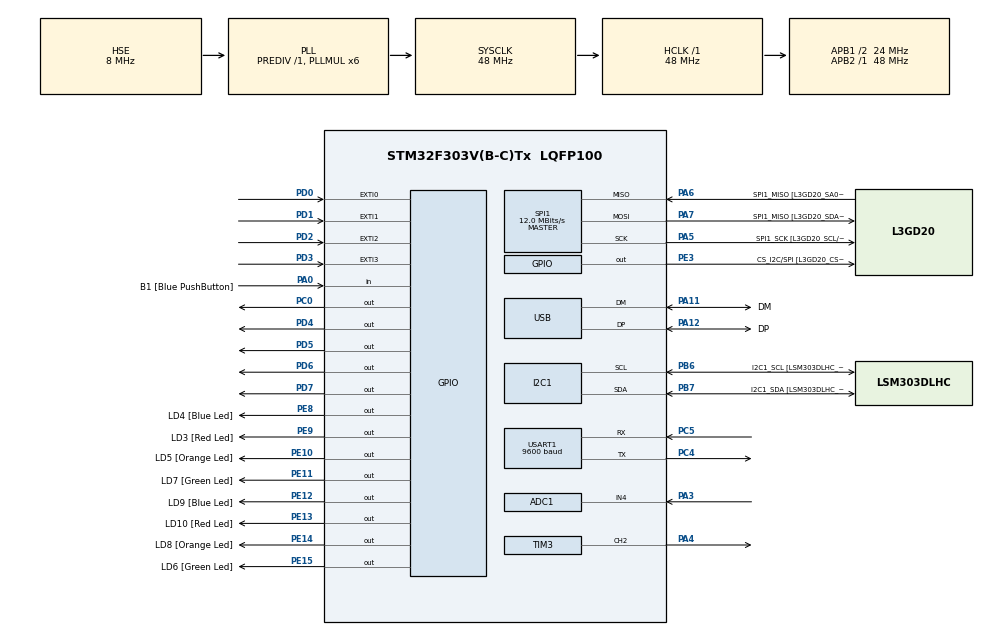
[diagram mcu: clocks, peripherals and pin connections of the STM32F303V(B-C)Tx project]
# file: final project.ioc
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ADC1.Channel-0\#ChannelRegularConversion=ADC_CHANNEL_4
ADC1.NbrOfConversionFlag=1
ADC1.Offset-0\#ChannelRegularConversion=0
ADC1.OffsetNumber-0\#ChannelRegularConversion=ADC_OFFSET_NONE
ADC1.Rank-0\#ChannelRegularConversion=1
ADC1.SamplingTime-0\#ChannelRegularConversion=ADC_SAMPLETIME_601CYCLES_5
ADC1.master=1
I2C1.Timing-I2C=0x2000090E
Mcu.Family=STM32F3
Mcu.Name=STM32F303V(B-C)Tx
Mcu.Package=LQFP100
NVIC.ADC1_2_IRQn=true\:3\:0\:true\:false\:true\:true\:true\:true
NVIC.EXTI0_IRQn=true\:0\:0\:false\:false\:true\:true\:true\:true
NVIC.EXTI1_IRQn=true\:0\:0\:false\:false\:true\:true\:true\:true
NVIC.EXTI2_TSC_IRQn=true\:0\:0\:false\:false\:true\:true\:true\:true
NVIC.EXTI3_IRQn=true\:0\:0\:false\:false\:true\:true\:true\:true
NVIC.PriorityGroup=NVIC_PRIORITYGROUP_2
NVIC.TIM2_IRQn=true\:2\:0\:true\:false\:true\:true\:true\:true
NVIC.USART1_IRQn=true\:3\:0\:true\:false\:true\:true\:true\:true
PA0.GPIO_Label=B1 [Blue PushButton]
PA0.GPIO_PuPd=GPIO_NOPULL
PA0.Signal=GPIO_Input
PA11.GPIO_Label=DM
PA11.Mode=Device
PA11.Signal=USB_DM
PA12.GPIO_Label=DP
PA12.Mode=Device
PA12.Signal=USB_DP
PA13.GPIO_Label=SWDIO
PA13.Mode=Serial_Wire
PA13.Signal=SYS_JTMS-SWDIO
PA14.GPIO_Label=SWCLK
PA14.Mode=Serial_Wire
PA14.Signal=SYS_JTCK-SWCLK
PA3.Mode=IN4-Single-Ended
PA3.Signal=ADC1_IN4
PA4.Signal=S_TIM3_CH2
PA5.GPIO_Label=SPI1_SCK [L3GD20_SCL/SPC]
PA5.Mode=Full_Duplex_Master
PA5.Signal=SPI1_SCK
PA6.GPIO_Label=SPI1_MISO [L3GD20_SA0/SDO]
PA6.Mode=Full_Duplex_Master
PA6.Signal=SPI1_MISO
PA7.GPIO_Label=SPI1_MISO [L3GD20_SDA/SDI/SDO]
PA7.Mode=Full_Duplex_Master
PA7.Signal=SPI1_MOSI
PB3.GPIO_Label=SWO
PB3.Signal=SYS_JTDO-TRACESWO
PB6.GPIO_Label=I2C1_SCL [LSM303DLHC_SCL]
PB6.GPIO_Pu=GPIO_PULLUP
PB6.Mode=I2C
PB6.Signal=I2C1_SCL
PB7.GPIO_Label=I2C1_SDA [LSM303DLHC_SDA]
PB7.GPIO_Pu=GPIO_PULLUP
PB7.Mode=I2C
PB7.Signal=I2C1_SDA
PC0.Signal=GPIO_Output
PC14-OSC32_IN.GPIO_Label=OSC32_IN
PC14-OSC32_IN.Signal=RCC_OSC32_IN
PC15-OSC32_OUT.GPIO_Label=OSC32_OUT
PC15-OSC32_OUT.Signal=RCC_OSC32_OUT
PC4.Mode=Asynchronous
PC4.Signal=USART1_TX
PC5.Mode=Asynchronous
PC5.Signal=USART1_RX
PD0.GPIO_ModeDefaultEXTI=GPIO_MODE_IT_RISING
PD0.GPIO_PuPd=GPIO_PULLDOWN
PD0.Signal=GPXTI0
PD1.GPIO_ModeDefaultEXTI=GPIO_MODE_IT_RISING
PD1.GPIO_PuPd=GPIO_PULLDOWN
PD1.Signal=GPXTI1
PD2.GPIO_ModeDefaultEXTI=GPIO_MODE_IT_RISING
PD2.GPIO_PuPd=GPIO_PULLDOWN
PD2.Signal=GPXTI2
PD3.GPIO_ModeDefaultEXTI=GPIO_MODE_IT_RISING
PD3.GPIO_PuPd=GPIO_PULLDOWN
PD3.Signal=GPXTI3
PD4.Signal=GPIO_Output
PD5.Signal=GPIO_Output
PD6.Signal=GPIO_Output
PD7.Signal=GPIO_Output
PE10.GPIO_Label=LD5 [Orange Led]
PE10.Signal=GPIO_Output
PE11.GPIO_Label=LD7 [Green Led]
PE11.Signal=GPIO_Output
PE12.GPIO_Label=LD9 [Blue Led]
PE12.Signal=GPIO_Output
PE13.GPIO_Label=LD10 [Red Led]
PE13.Signal=GPIO_Output
PE14.GPIO_Label=LD8 [Orange Led]
PE14.Signal=GPIO_Output
PE15.GPIO_Label=LD6 [Green Led]
PE15.Signal=GPIO_Output
PE3.GPIO_Label=CS_I2C/SPI [L3GD20_CS_I2C/SPI]
PE3.Signal=GPIO_Output
PE8.GPIO_Label=LD4 [Blue Led]
PE8.Signal=GPIO_Output
PE9.GPIO_Label=LD3 [Red Led]
PE9.Signal=GPIO_Output
PF0-OSC_IN.GPIO_Label=OSC_IN
PF0-OSC_IN.Mode=HSE-External-Clock-Source
PF0-OSC_IN.Signal=RCC_OSC_IN
PF1-OSC_OUT.GPIO_Label=OSC_OUT
PF1-OSC_OUT.Signal=RCC_OSC_OUT
ProjectManager.HeapSize=0x200
ProjectManager.StackSize=0x400
ProjectManager.TargetToolchain=STM32CubeIDE
RCC.AHBFreq_Value=48000000
RCC.APB1CLKDivider=RCC_HCLK_DIV2
RCC.APB1Freq_Value=24000000
RCC.APB1TimFreq_Value=48000000
RCC.APB2Freq_Value=48000000
RCC.APB2TimFreq_Value=48000000
RCC.CortexFreq_Value=48000000
RCC.HCLKFreq_Value=48000000
RCC.HSE_VALUE=8000000
RCC.HSI_VALUE=8000000
RCC.LSE_VALUE=32768
RCC.PLLMUL=RCC_PLL_MUL6
RCC.SYSCLKFreq_VALUE=48000000
RCC.SYSCLKSourceVirtual=RCC_SYSCLKSOURCE_PLLCLK
RCC.USBFreq_Value=48000000
RTC.AsynchPrediv=39
RTC.SynchPrediv=999
SH.S_TIM3_CH2.0=TIM3_CH2,PWM Generation2 CH2
SPI1.BaudRatePrescaler=SPI_BAUDRATEPRESCALER_4
SPI1.BaudRatePrescaler-Full_Duplex_Master=SPI_BAUDRATEPRESCALER_2
SPI1.CalculateBaudRate=12.0 MBits/s
SPI1.CalculateBaudRate-Full_Duplex_Master=24.0 MBits/s
SPI1.Direction=SPI_DIRECTION_2LINES
SPI1.Mode=SPI_MODE_MASTER
SPI1.Mode-Full_Duplex_Master=SPI_MODE_MASTER
SPI1.VirtualType=VM_MASTER
TIM2.Period=999
TIM2.Prescaler=4799
TIM3.Channel-PWM\ Generation2\ CH2=TIM_CHANNEL_2
USART1.BaudRate=9600
USART1.VirtualMode-Asynchronous=VM_ASYNC
VP_RTC_VS_RTC_Activate.Mode=RTC_Enabled
VP_TIM2_VS_ClockSourceINT.Mode=Internal
VP_TIM3_VS_ClockSourceINT.Mode=Internal
board=STM32F3DISCOVERY

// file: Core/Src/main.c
/* USER CODE BEGIN Header */
/**
 ******************************************************************************
 * @file           : main.c
 * @brief          : Main program body
 ******************************************************************************
 * @attention
 *
 * Copyright (c) 2023 STMicroelectronics.
 * All rights reserved.
 *
 * This software is licensed under terms that can be found in the LICENSE file
 * in the root directory of this software component.
 * If no LICENSE file comes with this software, it is provided AS-IS.
 *
 ******************************************************************************
 */
/* USER CODE END Header */
#include "main.h"

/* USER CODE BEGIN PTD */
typedef unsigned char byte;
/* USER CODE END PTD */

/* USER CODE BEGIN PD */
byte player[] = { 0x10, 0x08, 0x0C, 0x1F, 0x1F, 0x0C, 0x08, 0x10 };
byte enemy[] = { 0x00, 0x00, 0x04, 0x1F, 0x0E, 0x04, 0x00, 0x00 };
byte shot[] = { 0x00, 0x00, 0x0E, 0x0E, 0x0E, 0x0E, 0x00, 0x00 };
int board[20][4];
int x = 1;
int y = 0;
int playershot = 0;
int timer = 0;
int enemy_falling_timer;
extern int enemy_falling_duration;
int total_hit = 1;
int health = 7;
int started = 0;
int menu = 0;
int information = 0;
int entername = 0;
int uartflag = 0;
int choose_mode = 0;
int bullet[10][3];
int fire[5][3];
char name[10] = "";
int game_score = 15;
int stop_menu_music = 0;

extern int in_menu;
extern int in_info;
extern int in_name_entering;
extern int in_game;
extern int in_game_mode;
/* USER CODE END PD */

/* USER CODE BEGIN PM */
#include "LiquidCrystal.h"
#include "string.h"
/* USER CODE END PM */

ADC_HandleTypeDef hadc1;

I2C_HandleTypeDef hi2c1;

RTC_HandleTypeDef hrtc;

SPI_HandleTypeDef hspi1;

TIM_HandleTypeDef htim2;
TIM_HandleTypeDef htim3;

UART_HandleTypeDef huart1;

PCD_HandleTypeDef hpcd_USB_FS;

/* USER CODE BEGIN PV */

typedef struct {
	uint16_t frequency;
	uint16_t duration;
} Tone;

#define ARRAY_LENGTH(arr) (sizeof(arr) / sizeof((arr)[0]))

#define NOTE_B0  31
#define NOTE_C1  33
#define NOTE_CS1 35
#define NOTE_D1  37
#define NOTE_DS1 39
#define NOTE_E1  41
#define NOTE_F1  44
#define NOTE_FS1 46
#define NOTE_G1  49
#define NOTE_GS1 52
#define NOTE_A1  55
#define NOTE_AS1 58
#define NOTE_B1  62
#define NOTE_C2  65
#define NOTE_CS2 69
#define NOTE_D2  73
#define NOTE_DS2 78
#define NOTE_E2  82
#define NOTE_F2  87
#define NOTE_FS2 93
#define NOTE_G2  98
#define NOTE_GS2 104
#define NOTE_A2  110
#define NOTE_AS2 117
#define NOTE_B2  123
#define NOTE_C3  131
#define NOTE_CS3 139
#define NOTE_D3  147
#define NOTE_DS3 156
#define NOTE_E3  165
#define NOTE_F3  175
#define NOTE_FS3 185
#define NOTE_G3  196
#define NOTE_GS3 208
#define NOTE_A3  220
#define NOTE_AS3 233
#define NOTE_B3  247
#define NOTE_C4  262
#define NOTE_CS4 277
#define NOTE_D4  294
#define NOTE_DS4 311
#define NOTE_E4  330
#define NOTE_F4  349
#define NOTE_FS4 370
#define NOTE_G4  392
#define NOTE_GS4 415
#define NOTE_A4  440
#define NOTE_AS4 466
#define NOTE_B4  494
#define NOTE_C5  523
#define NOTE_CS5 554
#define NOTE_D5  587
#define NOTE_DS5 622
#define NOTE_E5  659
#define NOTE_F5  698
#define NOTE_FS5 740
#define NOTE_G5  784
#define NOTE_GS5 831
#define NOTE_A5  880
#define NOTE_AS5 932
#define NOTE_B5  988
#define NOTE_C6  1047
#define NOTE_CS6 1109
#define NOTE_D6  1175
#define NOTE_DS6 1245
#define NOTE_E6  1319
#define NOTE_F6  1397
#define NOTE_FS6 1480
#define NOTE_G6  1568
#define NOTE_GS6 1661
#define NOTE_A6  1760
#define NOTE_AS6 1865
#define NOTE_B6  1976
#define NOTE_C7  2093
#define NOTE_CS7 2217
#define NOTE_D7  2349
#define NOTE_DS7 2489
#define NOTE_E7  2637
#define NOTE_F7  2794
#define NOTE_FS7 2960
#define NOTE_G7  3136
#define NOTE_GS7 3322
#define NOTE_A7  3520
#define NOTE_AS7 3729
#define NOTE_B7  3951
#define NOTE_C8  4186
#define NOTE_CS8 4435
#define NOTE_D8  4699
#define NOTE_DS8 4978
#define REST      0
#define Q2 1000
#define Q4 500
#define Q8 250
#define Q16 125
#define QM1 3000
#define QM2 1250
#define QM4 750
#define QM8 375

/* USER CODE END PV */

void SystemClock_Config(void);
static void MX_GPIO_Init(void);
static void MX_I2C1_Init(void);
static void MX_SPI1_Init(void);
static void MX_USB_PCD_Init(void);
static void MX_TIM2_Init(void);
static void MX_TIM3_Init(void);
static void MX_RTC_Init(void);
static void MX_USART1_UART_Init(void);
static void MX_ADC1_Init(void);
/* USER CODE BEGIN PFP */

TIM_HandleTypeDef *pwm_timer = &htim3; // Point to PWM Timer configured in CubeMX
uint32_t pwm_channel = TIM_CHANNEL_2;   // Select configured PWM channel number

const Tone *volatile melody_ptr;
volatile uint16_t melody_tone_count;
volatile uint16_t current_tone_number;
volatile uint32_t current_tone_end;
volatile uint16_t volume = 50;          // (0 - 1000)
volatile uint32_t last_button_press;

const Tone GOT[] = {

{ NOTE_G4, Q8 }, { NOTE_C4, Q8 }, { NOTE_DS4, Q16 }, { NOTE_F4, Q16 }, {
NOTE_G4, Q8 }, { NOTE_C4, Q8 }, { NOTE_DS4, Q16 },
		{ NOTE_F4, Q16 }, //1
		{ NOTE_G4, Q8 }, { NOTE_C4, Q8 }, { NOTE_DS4, Q16 }, { NOTE_F4, Q16 }, {
		NOTE_G4, Q8 }, { NOTE_C4, Q8 }, { NOTE_DS4, Q16 }, { NOTE_F4,
		Q16 }, { NOTE_G4, Q8 }, { NOTE_C4, Q8 }, { NOTE_E4, Q16 }, {
		NOTE_F4, Q16 }, { NOTE_G4, Q8 }, { NOTE_C4, Q8 }, { NOTE_E4, Q16 }, {
		NOTE_F4, Q16 }, { NOTE_G4, Q8 }, { NOTE_C4, Q8 }, {
		NOTE_E4, Q16 }, { NOTE_F4, Q16 }, { NOTE_G4, Q8 }, { NOTE_C4, Q8 }, {
		NOTE_E4, Q16 }, { NOTE_F4, Q16 }, { NOTE_G4, QM4 }, {
		NOTE_C4, QM4 }, { NOTE_DS4, Q16 }, { NOTE_F4, Q16 }, { NOTE_G4,
		Q4 }, { NOTE_C4, Q4 }, { NOTE_DS4, Q16 }, { NOTE_F4, Q16 }, {
		NOTE_D4, QM1 }, { NOTE_F4, QM4 }, { NOTE_AS3, QM4 }, { NOTE_DS4,
		Q16 }, { NOTE_D4, Q16 }, { NOTE_F4, Q4 }, { NOTE_AS3, QM4 }, {
		NOTE_DS4, Q16 }, { NOTE_D4, Q16 },
		{ NOTE_C4, QM1 }, //11 and 12
		{ NOTE_G4, QM4 },
		{ NOTE_C4, QM4 }, //5
		{ NOTE_DS4, Q16 }, { NOTE_F4, Q16 }, { NOTE_G4, Q4 }, { NOTE_C4, Q4 }, {
		NOTE_DS4, Q16 },
		{ NOTE_F4, Q16 }, //6
		{ NOTE_D4, QM1 }, //7 and 8
		{ NOTE_F4, QM4 }, { NOTE_AS3, QM4 }, { NOTE_DS4, Q16 },
		{ NOTE_D4, Q16 }, { NOTE_F4, Q4 }, { NOTE_AS3, QM4 }, { NOTE_DS4, Q16 },
		{ NOTE_D4, Q16 },
		{ NOTE_C4, QM1 }, //11 and 12
		{ NOTE_G4, QM4 }, { NOTE_C4, QM4 }, { NOTE_DS4, Q16 }, { NOTE_F4, Q16 },
		{ NOTE_G4, Q4 }, { NOTE_C4, Q4 }, { NOTE_DS4, Q16 }, { NOTE_F4, Q16 },
		{ NOTE_D4, QM2 }, //15
		{ NOTE_F4, QM4 }, { NOTE_AS3, QM4 }, { NOTE_D4, QM8 },
		{ NOTE_DS4, QM8 }, { NOTE_D4, QM8 }, { NOTE_AS3, QM8 },
		{ NOTE_C4, QM1 }, { NOTE_C5, QM2 }, { NOTE_AS4, QM2 }, { NOTE_C4, QM2 },
		{ NOTE_G4, QM2 }, { NOTE_DS4, QM4 }, { NOTE_DS4, QM4 },
		{ NOTE_F4, QM4 }, { NOTE_G4, QM1 }, { NOTE_C5, QM2 }, { NOTE_AS4, QM2 },
		{ NOTE_C4, QM2 }, { NOTE_G4, QM2 }, { NOTE_DS4, QM2 },
		{ NOTE_DS4, QM4 }, { NOTE_D4, QM4 }, { NOTE_C5, Q8 }, { NOTE_G4, Q8 }, {
		NOTE_GS4, Q16 }, { NOTE_AS4, Q16 }, { NOTE_C5, Q8 }, { NOTE_G4,
		Q8 }, { NOTE_GS4, Q16 }, { NOTE_AS4, Q16 }, { NOTE_C5, Q8 }, {
		NOTE_G4, Q8 }, { NOTE_GS4, Q16 }, { NOTE_AS4, Q16 }, { NOTE_C5,
		Q8 }, { NOTE_G4, Q8 }, { NOTE_GS4, Q16 }, { NOTE_AS4, Q16 }, {
		REST, Q4 }, { NOTE_GS5, Q16 }, { NOTE_AS5, Q16 }, { NOTE_C6, Q8 }, {
		NOTE_G5, Q8 }, { NOTE_GS5, Q16 }, { NOTE_AS5, Q16 }, { NOTE_C6,
		Q8 }, { NOTE_G5, Q16 }, { NOTE_GS5, Q16 }, { NOTE_AS5, Q16 }, {
		NOTE_C6, Q8 }, { NOTE_G5, Q8 }, { NOTE_GS5, Q16 }, { NOTE_AS5,
		Q16 }, { 0, 0 } };

void PWM_Start() {
	HAL_TIM_PWM_Start(pwm_timer, pwm_channel);
}

void PWM_Change_Tone(uint16_t pwm_freq, uint16_t volume) // pwm_freq (1 - 20000), volume (0 - 1000)
{
	if (pwm_freq == 0 || pwm_freq > 20000) {
		__HAL_TIM_SET_COMPARE(pwm_timer, pwm_channel, 0);
	} else {
		const uint32_t internal_clock_freq = HAL_RCC_GetSysClockFreq();
		const uint16_t prescaler = 1 + internal_clock_freq / pwm_freq / 60000;
		const uint32_t timer_clock = internal_clock_freq / prescaler;
		const uint32_t period_cycles = timer_clock / pwm_freq;
		const uint32_t pulse_width = volume * period_cycles / 1000 / 2;

		pwm_timer->Instance->PSC = prescaler - 1;
		pwm_timer->Instance->ARR = period_cycles - 1;
		pwm_timer->Instance->EGR = TIM_EGR_UG;
		__HAL_TIM_SET_COMPARE(pwm_timer, pwm_channel, pulse_width); // pwm_timer->Instance->CCR2 = pulse_width;
	}
}

void Change_Melody(const Tone *melody, uint16_t tone_count) {
	melody_ptr = melody;
	melody_tone_count = tone_count;
	current_tone_number = 0;
}

void Update_Melody() {
	if ((HAL_GetTick() > current_tone_end)
			&& (current_tone_number < melody_tone_count)) {
		const Tone active_tone = *(melody_ptr + current_tone_number);
		PWM_Change_Tone(active_tone.frequency, volume);
		current_tone_end = HAL_GetTick() + active_tone.duration;
		current_tone_number++;
	}
}
/* USER CODE END PFP */

/* USER CODE BEGIN 0 */
int key_pad_number = 0;
int board_variable = 0;
// Input pull down rising edge trigger interrupt pins:
// Row1 PD3, Row2 PD5, Row3 PD7, Row4 PB4
void emptyboard() {
	for (int i = 0; i < 20; i++) {
		for (int j = 0; j < 4; j++) {
			board[i][j] = 0;
		}
	}
}

void emptyshot() {
	for (int i = 0; i < 10; i++) {
		bullet[i][0] = 0;
		bullet[i][1] = 0;
		bullet[i][2] = 0;
		if (i < 5) {
			fire[i][0] = 0;
			fire[i][1] = 0;
			fire[i][2] = 0;
		}
	}
}

void fill_shot(int x, int y) {
	for (int i = 0; i < 10; i++) {
		if (bullet[i][0] == 0) {
			bullet[i][0] = 1;
			bullet[i][1] = x;
			bullet[i][2] = y;
			break;
		}
	}
}

GPIO_TypeDef *const Row_ports[] = { GPIOD, GPIOD, GPIOD, GPIOD };
const uint16_t Row_pins[] = { GPIO_PIN_0, GPIO_PIN_1, GPIO_PIN_2, GPIO_PIN_3 };
// Output pins: Column1 PD4, Column2 PD6, Column3 PB3, Column4 PB5
GPIO_TypeDef *const Column_ports[] = { GPIOD, GPIOD, GPIOD, GPIOD };
const uint16_t Column_pins[] =
		{ GPIO_PIN_4, GPIO_PIN_5, GPIO_PIN_6, GPIO_PIN_7 };
volatile uint32_t last_gpio_exti;

void HAL_GPIO_EXTI_Callback(uint16_t GPIO_Pin) {
	if (last_gpio_exti + 300 > HAL_GetTick()) // Simple button debouncing
		return;

	HAL_GPIO_TogglePin(GPIOE, GPIO_PIN_9);

	int8_t row_number = -1;
	int8_t column_number = -1;

	if (GPIO_Pin == GPIO_PIN_0) {
		// blue_button_pressed = 1;
		// return;
	}

	for (uint8_t row = 0; row < 4; row++) // Loop through Rows
			{
		if (GPIO_Pin == Row_pins[row]) {
			row_number = row;
		}
	}

	HAL_GPIO_WritePin(Column_ports[0], Column_pins[0], 0);
	HAL_GPIO_WritePin(Column_ports[1], Column_pins[1], 0);
	HAL_GPIO_WritePin(Column_ports[2], Column_pins[2], 0);
	HAL_GPIO_WritePin(Column_ports[3], Column_pins[3], 0);

	for (uint8_t col = 0; col < 4; col++) // Loop through Columns
			{
		HAL_GPIO_WritePin(Column_ports[col], Column_pins[col], 1);
		if (HAL_GPIO_ReadPin(Row_ports[row_number], Row_pins[row_number])) {
			column_number = col;
		}
		HAL_GPIO_WritePin(Column_ports[col], Column_pins[col], 0);
	}

	HAL_GPIO_WritePin(Column_ports[0], Column_pins[0], 1);
	HAL_GPIO_WritePin(Column_ports[1], Column_pins[1], 1);
	HAL_GPIO_WritePin(Column_ports[2], Column_pins[2], 1);
	HAL_GPIO_WritePin(Column_ports[3], Column_pins[3], 1);

	if (row_number == -1 || column_number == -1) {
		return; // Reject invalid scan
	}
	//   C0   C1   C2   C3
	// +----+----+----+----+
	// | 1  | 2  | 3  | 4  |  R0
	// +----+----+----+----+
	// | 5  | 6  | 7  | 8  |  R1
	// +----+----+----+----+
	// | 9  | 10 | 11 | 12 |  R2
	// +----+----+----+----+
	// | 13 | 14 | 15 | 16 |  R3
	// +----+----+----+----+
	const uint8_t button_number = row_number * 4 + column_number + 1;
	switch (button_number) {
	case 1:
		/* code */
		//S13
		//go left
		if (in_game == 1) {
			HAL_GPIO_TogglePin(GPIOE, GPIO_PIN_8);
			y = 0;
			board[y][x] = 0;
			if (x > 0) {
				x--;
			} else {
				x = 3;
			}
			board[y][x] = 1;
		}

		break;
	case 2:
		/* code */
		//S14
		//go right
		if (in_game == 1) {
			HAL_GPIO_TogglePin(GPIOE, GPIO_PIN_9);
			y = 0;
			board[y][x] = 0;
			x = (x + 1) % 4;
			board[y][x] = 1;
		}
		break;
	case 3:
		/* code */
		//S15
		if (in_game == 1) {
			HAL_GPIO_TogglePin(GPIOE, GPIO_PIN_10);
			fill_shot(x, 1);
			playershot = 1;
		}

		break;
	case 4:
		/* code */
		//s16
		HAL_GPIO_TogglePin(GPIOE, GPIO_PIN_8);
		menu = 1;
		Change_Melody(GOT, ARRAY_LENGTH(GOT));
		break;
	case 5:
		/* code */
//	  HAL_GPIO_TogglePin(GPIOE, GPIO_PIN_8);
		break;
	case 6:
		/* code */
//	  HAL_GPIO_TogglePin(GPIOE, GPIO_PIN_8);
		break;
	case 7:
		/* code */
//	  HAL_GPIO_TogglePin(GPIOE, GPIO_PIN_8);
		break;
	case 8:
		/* code */
//	  HAL_GPIO_TogglePin(GPIOE, GPIO_PIN_8);
		break;
	case 9:
		/* code */
		//S5
		if (in_game_mode == 1) {
			enemy_falling_duration = 5000;
			health = 7;
			total_hit = 15;
			game_score = 15;
			unsigned char test[20] = "this is s5\n";
			HAL_UART_Transmit(&huart1, test, sizeof(test), 1000);
		}
//	  HAL_GPIO_TogglePin(GPIOE, GPIO_PIN_8);
		break;
	case 10:
		/* code */
		//S6
		if (in_game_mode == 1) {
			enemy_falling_duration = 3000;
			health = 5;
			total_hit = 25;
			game_score = 25;
			unsigned char test[20] = "this is s6\n";
			HAL_UART_Transmit(&huart1, test, sizeof(test), 1000);
		}
		//	  HAL_GPIO_TogglePin(GPIOE, GPIO_PIN_8);
		break;
	case 11:
		/* code */
		//S7
		if (in_game_mode == 1) {
			enemy_falling_duration = 1000;
			health = 3;
			total_hit = 35;
			game_score = 35;
			unsigned char test[20] = "this is s7\n";
			HAL_UART_Transmit(&huart1, test, sizeof(test), 1000);
		}
//	  HAL_GPIO_TogglePin(GPIOE, GPIO_PIN_8);
		break;
	case 12:
		/* code */
		//S8
//	  HAL_GPIO_TogglePin(GPIOE, GPIO_PIN_8);
		if (in_game_mode == 1) {
			started = 1;
			in_game_mode = 0;
			unsigned char test[20] = "this is s8\n";
			HAL_UART_Transmit(&huart1, test, sizeof(test), 1000);
//			__HAL_TIM_SET_COMPARE(&htim3, TIM_CHANNEL_2, 0);
			stop_menu_music = 1;

		}

		break;
	case 13:
		/* code */
		//s1
//	  HAL_GPIO_TogglePin(GPIOE, GPIO_PIN_8);
//	  started = 1;
		if (in_menu == 1) {
			entername = 1;
			in_menu = 0;
		}
		break;
	case 14:
		/* code */
		//s2
		if (in_menu == 1) {
			information = 1;
			in_menu = 0;
		}
//	  HAL_GPIO_TogglePin(GPIOE, GPIO_PIN_8);
		break;
	case 15:
		/* code */
		//S3
		if (in_info == 1) {
			information = 0;
			menu = 1;
			in_info = 0;
		}
//	  HAL_GPIO_TogglePin(GPIOE, GPIO_PIN_8);
		break;
	case 16:
		/* code */
		//S4
		if (in_name_entering == 1) {
			choose_mode = 1;
			in_name_entering = 0;
		}
//	  HAL_GPIO_TogglePin(GPIOE, GPIO_PIN_8);
		break;

	default:
		break;
	}
	last_gpio_exti = HAL_GetTick();
}

void emptyBuffer(unsigned char b[]) {
	for (int i = 0; i < 30; i++) {
		b[i] = "";
	}
}

int position = 0;
unsigned char data[1];
unsigned char buffer[30] = "";

void HAL_UART_RxCpltCallback(UART_HandleTypeDef *huart) {
	if (huart->Instance == USART1) {
		if (data[0] == '/') {
			if (uartflag == 1) {
				unsigned char test[20] = "name recieved\n";
				HAL_UART_Transmit(&huart1, test, sizeof(test), 1000);
				uartflag = 0;
//				name = buffer;
			}
			emptyBuffer(buffer);
			position = 0;
		} else {
			buffer[position] = data[0];
//			buffer[position++] = '\0';
			name[position] = data[0];
			position++;
		}
		HAL_UART_Receive_IT(&huart1, data, sizeof(data));
	}

}

void keypadInit() {
	HAL_GPIO_WritePin(Column_ports[0], Column_pins[0], 1);
	HAL_GPIO_WritePin(Column_ports[1], Column_pins[1], 1);
	HAL_GPIO_WritePin(Column_ports[2], Column_pins[2], 1);
	HAL_GPIO_WritePin(Column_ports[3], Column_pins[3], 1);

}

/* USER CODE END 0 */

int main(void)
{
  /* USER CODE BEGIN 1 */
	timer = HAL_GetTick();
//	enemy_falling_timer = HAL_GetTick();
  /* USER CODE END 1 */

  /* MCU Configuration--------------------------------------------------------*/

  /* Reset of all peripherals, Initializes the Flash interface and the Systick. */
  HAL_Init();

  /* Configure the system clock */
  SystemClock_Config();

  /* Initialize all configured peripherals */
  MX_GPIO_Init();
  MX_I2C1_Init();
  MX_SPI1_Init();
  MX_USB_PCD_Init();
  MX_TIM2_Init();
  MX_TIM3_Init();
  MX_RTC_Init();
  MX_USART1_UART_Init();
  MX_ADC1_Init();
  /* USER CODE BEGIN 2 */
	keypadInit();
	emptyboard();
	emptyshot();
	LiquidCrystal(GPIOD, GPIO_PIN_8, GPIO_PIN_9, GPIO_PIN_10, GPIO_PIN_11,
	GPIO_PIN_12, GPIO_PIN_13, GPIO_PIN_14);
	begin(20, 4);
	createChar(1, player);
	createChar(2, enemy);
	createChar(3, shot);
	setCursor(3, 0);
	print("space invaders");
	setCursor(0, 2);
	print("menu(s4)");
	setCursor(0, 3);
//  board[y][x] = 1;
//  setCursor(0, 0);
//  print("hi");
//  setCursor(0, 2);
//  write(1);
//  unsigned char test[10] = "Hi";
//  HAL_UART_Transmit(&huart1, test, sizeof(test), 1000);

	HAL_TIM_Base_Start_IT(&htim2);
	HAL_TIM_Base_Start_IT(&htim3);
	HAL_UART_Receive_IT(&huart1, data, sizeof(data));

	PWM_Start();
//	Change_Melody(GOT, ARRAY_LENGTH(GOT));
	  HAL_ADC_Start_IT(&hadc1);
  /* USER CODE END 2 */

  /* Infinite loop */
	while (1) {

    /* USER CODE BEGIN 3 */
//	__HAL_TIM_SET_COMPARE(&htim3, TIM_CHANNEL_2, 15);
	}
  /* USER CODE END 3 */
}

void SystemClock_Config(void)
{
  RCC_OscInitTypeDef RCC_OscInitStruct = {0};
  RCC_ClkInitTypeDef RCC_ClkInitStruct = {0};
  RCC_PeriphCLKInitTypeDef PeriphClkInit = {0};

  /** Initializes the RCC Oscillators according to the specified parameters
  * in the RCC_OscInitTypeDef structure.
  */
  RCC_OscInitStruct.OscillatorType = RCC_OSCILLATORTYPE_HSI|RCC_OSCILLATORTYPE_LSI
                              |RCC_OSCILLATORTYPE_HSE;
  RCC_OscInitStruct.HSEState = RCC_HSE_BYPASS;
  RCC_OscInitStruct.HSEPredivValue = RCC_HSE_PREDIV_DIV1;
  RCC_OscInitStruct.HSIState = RCC_HSI_ON;
  RCC_OscInitStruct.HSICalibrationValue = RCC_HSICALIBRATION_DEFAULT;
  RCC_OscInitStruct.LSIState = RCC_LSI_ON;
  RCC_OscInitStruct.PLL.PLLState = RCC_PLL_ON;
  RCC_OscInitStruct.PLL.PLLSource = RCC_PLLSOURCE_HSE;
  RCC_OscInitStruct.PLL.PLLMUL = RCC_PLL_MUL6;
  if (HAL_RCC_OscConfig(&RCC_OscInitStruct) != HAL_OK)
  {
    Error_Handler();
  }

  /** Initializes the CPU, AHB and APB buses clocks
  */
  RCC_ClkInitStruct.ClockType = RCC_CLOCKTYPE_HCLK|RCC_CLOCKTYPE_SYSCLK
                              |RCC_CLOCKTYPE_PCLK1|RCC_CLOCKTYPE_PCLK2;
  RCC_ClkInitStruct.SYSCLKSource = RCC_SYSCLKSOURCE_PLLCLK;
  RCC_ClkInitStruct.AHBCLKDivider = RCC_SYSCLK_DIV1;
  RCC_ClkInitStruct.APB1CLKDivider = RCC_HCLK_DIV2;
  RCC_ClkInitStruct.APB2CLKDivider = RCC_HCLK_DIV1;

  if (HAL_RCC_ClockConfig(&RCC_ClkInitStruct, FLASH_LATENCY_1) != HAL_OK)
  {
    Error_Handler();
  }
  PeriphClkInit.PeriphClockSelection = RCC_PERIPHCLK_USB|RCC_PERIPHCLK_USART1
                              |RCC_PERIPHCLK_I2C1|RCC_PERIPHCLK_RTC
                              |RCC_PERIPHCLK_ADC12;
  PeriphClkInit.Usart1ClockSelection = RCC_USART1CLKSOURCE_PCLK2;
  PeriphClkInit.Adc12ClockSelection = RCC_ADC12PLLCLK_DIV1;
  PeriphClkInit.I2c1ClockSelection = RCC_I2C1CLKSOURCE_HSI;
  PeriphClkInit.RTCClockSelection = RCC_RTCCLKSOURCE_LSI;
  PeriphClkInit.USBClockSelection = RCC_USBCLKSOURCE_PLL;
  if (HAL_RCCEx_PeriphCLKConfig(&PeriphClkInit) != HAL_OK)
  {
    Error_Handler();
  }
}

static void MX_ADC1_Init(void)
{

  ADC_MultiModeTypeDef multimode = {0};
  ADC_ChannelConfTypeDef sConfig = {0};

  /** Common config
  */
  hadc1.Instance = ADC1;
  hadc1.Init.ClockPrescaler = ADC_CLOCK_ASYNC_DIV1;
  hadc1.Init.Resolution = ADC_RESOLUTION_12B;
  hadc1.Init.ScanConvMode = ADC_SCAN_DISABLE;
  hadc1.Init.ContinuousConvMode = DISABLE;
  hadc1.Init.DiscontinuousConvMode = DISABLE;
  hadc1.Init.ExternalTrigConvEdge = ADC_EXTERNALTRIGCONVEDGE_NONE;
  hadc1.Init.ExternalTrigConv = ADC_SOFTWARE_START;
  hadc1.Init.DataAlign = ADC_DATAALIGN_RIGHT;
  hadc1.Init.NbrOfConversion = 1;
  hadc1.Init.DMAContinuousRequests = DISABLE;
  hadc1.Init.EOCSelection = ADC_EOC_SINGLE_CONV;
  hadc1.Init.LowPowerAutoWait = DISABLE;
  hadc1.Init.Overrun = ADC_OVR_DATA_OVERWRITTEN;
  if (HAL_ADC_Init(&hadc1) != HAL_OK)
  {
    Error_Handler();
  }

  /** Configure the ADC multi-mode
  */
  multimode.Mode = ADC_MODE_INDEPENDENT;
  if (HAL_ADCEx_MultiModeConfigChannel(&hadc1, &multimode) != HAL_OK)
  {
    Error_Handler();
  }

  /** Configure Regular Channel
  */
  sConfig.Channel = ADC_CHANNEL_4;
  sConfig.Rank = ADC_REGULAR_RANK_1;
  sConfig.SingleDiff = ADC_SINGLE_ENDED;
  sConfig.SamplingTime = ADC_SAMPLETIME_601CYCLES_5;
  sConfig.OffsetNumber = ADC_OFFSET_NONE;
  sConfig.Offset = 0;
  if (HAL_ADC_ConfigChannel(&hadc1, &sConfig) != HAL_OK)
  {
    Error_Handler();
  }

}

static void MX_I2C1_Init(void)
{

  hi2c1.Instance = I2C1;
  hi2c1.Init.Timing = 0x2000090E;
  hi2c1.Init.OwnAddress1 = 0;
  hi2c1.Init.AddressingMode = I2C_ADDRESSINGMODE_7BIT;
  hi2c1.Init.DualAddressMode = I2C_DUALADDRESS_DISABLE;
  hi2c1.Init.OwnAddress2 = 0;
  hi2c1.Init.OwnAddress2Masks = I2C_OA2_NOMASK;
  hi2c1.Init.GeneralCallMode = I2C_GENERALCALL_DISABLE;
  hi2c1.Init.NoStretchMode = I2C_NOSTRETCH_DISABLE;
  if (HAL_I2C_Init(&hi2c1) != HAL_OK)
  {
    Error_Handler();
  }

  /** Configure Analogue filter
  */
  if (HAL_I2CEx_ConfigAnalogFilter(&hi2c1, I2C_ANALOGFILTER_ENABLE) != HAL_OK)
  {
    Error_Handler();
  }

  /** Configure Digital filter
  */
  if (HAL_I2CEx_ConfigDigitalFilter(&hi2c1, 0) != HAL_OK)
  {
    Error_Handler();
  }

}

static void MX_RTC_Init(void)
{

  /** Initialize RTC Only
  */
  hrtc.Instance = RTC;
  hrtc.Init.HourFormat = RTC_HOURFORMAT_24;
  hrtc.Init.AsynchPrediv = 39;
  hrtc.Init.SynchPrediv = 999;
  hrtc.Init.OutPut = RTC_OUTPUT_DISABLE;
  hrtc.Init.OutPutPolarity = RTC_OUTPUT_POLARITY_HIGH;
  hrtc.Init.OutPutType = RTC_OUTPUT_TYPE_OPENDRAIN;
  if (HAL_RTC_Init(&hrtc) != HAL_OK)
  {
    Error_Handler();
  }

}

static void MX_SPI1_Init(void)
{

  /* SPI1 parameter configuration*/
  hspi1.Instance = SPI1;
  hspi1.Init.Mode = SPI_MODE_MASTER;
  hspi1.Init.Direction = SPI_DIRECTION_2LINES;
  hspi1.Init.DataSize = SPI_DATASIZE_4BIT;
  hspi1.Init.CLKPolarity = SPI_POLARITY_LOW;
  hspi1.Init.CLKPhase = SPI_PHASE_1EDGE;
  hspi1.Init.NSS = SPI_NSS_SOFT;
  hspi1.Init.BaudRatePrescaler = SPI_BAUDRATEPRESCALER_4;
  hspi1.Init.FirstBit = SPI_FIRSTBIT_MSB;
  hspi1.Init.TIMode = SPI_TIMODE_DISABLE;
  hspi1.Init.CRCCalculation = SPI_CRCCALCULATION_DISABLE;
  hspi1.Init.CRCPolynomial = 7;
  hspi1.Init.CRCLength = SPI_CRC_LENGTH_DATASIZE;
  hspi1.Init.NSSPMode = SPI_NSS_PULSE_ENABLE;
  if (HAL_SPI_Init(&hspi1) != HAL_OK)
  {
    Error_Handler();
  }

}

static void MX_TIM2_Init(void)
{

  TIM_ClockConfigTypeDef sClockSourceConfig = {0};
  TIM_MasterConfigTypeDef sMasterConfig = {0};

  htim2.Instance = TIM2;
  htim2.Init.Prescaler = 4799;
  htim2.Init.CounterMode = TIM_COUNTERMODE_UP;
  htim2.Init.Period = 999;
  htim2.Init.ClockDivision = TIM_CLOCKDIVISION_DIV1;
  htim2.Init.AutoReloadPreload = TIM_AUTORELOAD_PRELOAD_DISABLE;
  if (HAL_TIM_Base_Init(&htim2) != HAL_OK)
  {
    Error_Handler();
  }
  sClockSourceConfig.ClockSource = TIM_CLOCKSOURCE_INTERNAL;
  if (HAL_TIM_ConfigClockSource(&htim2, &sClockSourceConfig) != HAL_OK)
  {
    Error_Handler();
  }
  sMasterConfig.MasterOutputTrigger = TIM_TRGO_RESET;
  sMasterConfig.MasterSlaveMode = TIM_MASTERSLAVEMODE_DISABLE;
  if (HAL_TIMEx_MasterConfigSynchronization(&htim2, &sMasterConfig) != HAL_OK)
  {
    Error_Handler();
  }

}

static void MX_TIM3_Init(void)
{

  TIM_ClockConfigTypeDef sClockSourceConfig = {0};
  TIM_MasterConfigTypeDef sMasterConfig = {0};
  TIM_OC_InitTypeDef sConfigOC = {0};

  htim3.Instance = TIM3;
  htim3.Init.Prescaler = 0;
  htim3.Init.CounterMode = TIM_COUNTERMODE_UP;
  htim3.Init.Period = 65535;
  htim3.Init.ClockDivision = TIM_CLOCKDIVISION_DIV1;
  htim3.Init.AutoReloadPreload = TIM_AUTORELOAD_PRELOAD_DISABLE;
  if (HAL_TIM_Base_Init(&htim3) != HAL_OK)
  {
    Error_Handler();
  }
  sClockSourceConfig.ClockSource = TIM_CLOCKSOURCE_INTERNAL;
  if (HAL_TIM_ConfigClockSource(&htim3, &sClockSourceConfig) != HAL_OK)
  {
    Error_Handler();
  }
  if (HAL_TIM_PWM_Init(&htim3) != HAL_OK)
  {
    Error_Handler();
  }
  sMasterConfig.MasterOutputTrigger = TIM_TRGO_RESET;
  sMasterConfig.MasterSlaveMode = TIM_MASTERSLAVEMODE_DISABLE;
  if (HAL_TIMEx_MasterConfigSynchronization(&htim3, &sMasterConfig) != HAL_OK)
  {
    Error_Handler();
  }
  sConfigOC.OCMode = TIM_OCMODE_PWM1;
  sConfigOC.Pulse = 0;
  sConfigOC.OCPolarity = TIM_OCPOLARITY_HIGH;
  sConfigOC.OCFastMode = TIM_OCFAST_DISABLE;
  if (HAL_TIM_PWM_ConfigChannel(&htim3, &sConfigOC, TIM_CHANNEL_2) != HAL_OK)
  {
    Error_Handler();
  }
  HAL_TIM_MspPostInit(&htim3);

}

static void MX_USART1_UART_Init(void)
{

  huart1.Instance = USART1;
  huart1.Init.BaudRate = 9600;
  huart1.Init.WordLength = UART_WORDLENGTH_8B;
  huart1.Init.StopBits = UART_STOPBITS_1;
  huart1.Init.Parity = UART_PARITY_NONE;
  huart1.Init.Mode = UART_MODE_TX_RX;
  huart1.Init.HwFlowCtl = UART_HWCONTROL_NONE;
  huart1.Init.OverSampling = UART_OVERSAMPLING_16;
  huart1.Init.OneBitSampling = UART_ONE_BIT_SAMPLE_DISABLE;
  huart1.AdvancedInit.AdvFeatureInit = UART_ADVFEATURE_NO_INIT;
  if (HAL_UART_Init(&huart1) != HAL_OK)
  {
    Error_Handler();
  }

}

static void MX_USB_PCD_Init(void)
{

  hpcd_USB_FS.Instance = USB;
  hpcd_USB_FS.Init.dev_endpoints = 8;
  hpcd_USB_FS.Init.speed = PCD_SPEED_FULL;
  hpcd_USB_FS.Init.phy_itface = PCD_PHY_EMBEDDED;
  hpcd_USB_FS.Init.low_power_enable = DISABLE;
  hpcd_USB_FS.Init.battery_charging_enable = DISABLE;
  if (HAL_PCD_Init(&hpcd_USB_FS) != HAL_OK)
  {
    Error_Handler();
  }

}

static void MX_GPIO_Init(void)
{
  GPIO_InitTypeDef GPIO_InitStruct = {0};

  /* GPIO Ports Clock Enable */
  __HAL_RCC_GPIOE_CLK_ENABLE();
  __HAL_RCC_GPIOC_CLK_ENABLE();
  __HAL_RCC_GPIOF_CLK_ENABLE();
  __HAL_RCC_GPIOA_CLK_ENABLE();
  __HAL_RCC_GPIOD_CLK_ENABLE();
  __HAL_RCC_GPIOB_CLK_ENABLE();

  /*Configure GPIO pin Output Level */
  HAL_GPIO_WritePin(GPIOE, CS_I2C_SPI_Pin|LD4_Pin|LD3_Pin|LD5_Pin
                          |LD7_Pin|LD9_Pin|LD10_Pin|LD8_Pin
                          |LD6_Pin, GPIO_PIN_RESET);

  /*Configure GPIO pin Output Level */
  HAL_GPIO_WritePin(GPIOC, GPIO_PIN_0, GPIO_PIN_RESET);

  /*Configure GPIO pin Output Level */
  HAL_GPIO_WritePin(GPIOD, GPIO_PIN_4|GPIO_PIN_5|GPIO_PIN_6|GPIO_PIN_7, GPIO_PIN_RESET);

  /*Configure GPIO pins : CS_I2C_SPI_Pin LD4_Pin LD3_Pin LD5_Pin
                           LD7_Pin LD9_Pin LD10_Pin LD8_Pin
                           LD6_Pin */
  GPIO_InitStruct.Pin = CS_I2C_SPI_Pin|LD4_Pin|LD3_Pin|LD5_Pin
                          |LD7_Pin|LD9_Pin|LD10_Pin|LD8_Pin
                          |LD6_Pin;
  GPIO_InitStruct.Mode = GPIO_MODE_OUTPUT_PP;
  GPIO_InitStruct.Pull = GPIO_NOPULL;
  GPIO_InitStruct.Speed = GPIO_SPEED_FREQ_LOW;
  HAL_GPIO_Init(GPIOE, &GPIO_InitStruct);

  /*Configure GPIO pin : PC0 */
  GPIO_InitStruct.Pin = GPIO_PIN_0;
  GPIO_InitStruct.Mode = GPIO_MODE_OUTPUT_PP;
  GPIO_InitStruct.Pull = GPIO_NOPULL;
  GPIO_InitStruct.Speed = GPIO_SPEED_FREQ_LOW;
  HAL_GPIO_Init(GPIOC, &GPIO_InitStruct);

  /*Configure GPIO pin : B1_Pin */
  GPIO_InitStruct.Pin = B1_Pin;
  GPIO_InitStruct.Mode = GPIO_MODE_INPUT;
  GPIO_InitStruct.Pull = GPIO_NOPULL;
  HAL_GPIO_Init(B1_GPIO_Port, &GPIO_InitStruct);

  /*Configure GPIO pins : PD0 PD1 PD2 PD3 */
  GPIO_InitStruct.Pin = GPIO_PIN_0|GPIO_PIN_1|GPIO_PIN_2|GPIO_PIN_3;
  GPIO_InitStruct.Mode = GPIO_MODE_IT_RISING;
  GPIO_InitStruct.Pull = GPIO_PULLDOWN;
  HAL_GPIO_Init(GPIOD, &GPIO_InitStruct);

  /*Configure GPIO pins : PD4 PD5 PD6 PD7 */
  GPIO_InitStruct.Pin = GPIO_PIN_4|GPIO_PIN_5|GPIO_PIN_6|GPIO_PIN_7;
  GPIO_InitStruct.Mode = GPIO_MODE_OUTPUT_PP;
  GPIO_InitStruct.Pull = GPIO_NOPULL;
  GPIO_InitStruct.Speed = GPIO_SPEED_FREQ_LOW;
  HAL_GPIO_Init(GPIOD, &GPIO_InitStruct);

  /* EXTI interrupt init*/
  HAL_NVIC_SetPriority(EXTI0_IRQn, 0, 0);
  HAL_NVIC_EnableIRQ(EXTI0_IRQn);

  HAL_NVIC_SetPriority(EXTI1_IRQn, 0, 0);
  HAL_NVIC_EnableIRQ(EXTI1_IRQn);

  HAL_NVIC_SetPriority(EXTI2_TSC_IRQn, 0, 0);
  HAL_NVIC_EnableIRQ(EXTI2_TSC_IRQn);

  HAL_NVIC_SetPriority(EXTI3_IRQn, 0, 0);
  HAL_NVIC_EnableIRQ(EXTI3_IRQn);

}

void Error_Handler(void)
{
	__disable_irq();
	while (1) {
	}
}
